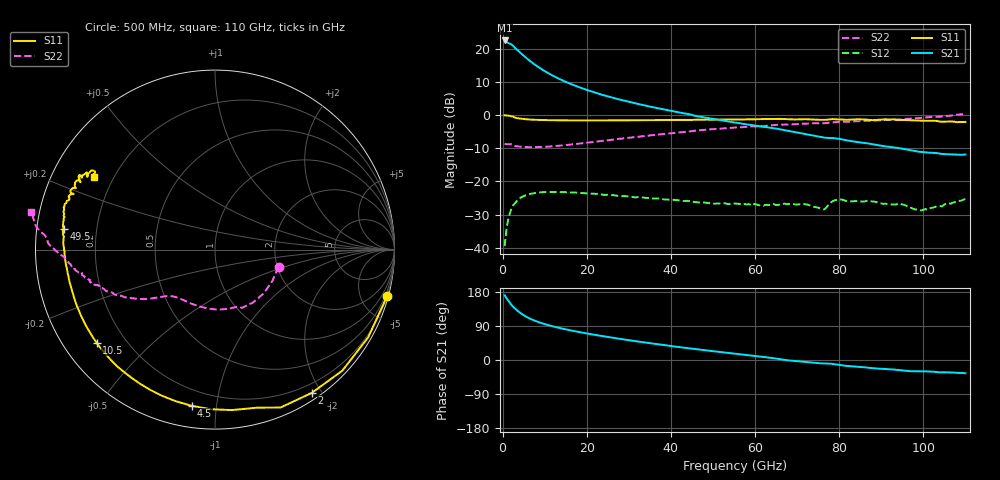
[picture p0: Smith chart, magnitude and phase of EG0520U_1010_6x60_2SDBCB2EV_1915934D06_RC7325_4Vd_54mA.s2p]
!File name = EG0520U_1010_6x60_2SDBCB2EV_1915934D06_RC7325_4Vd_54mA.s2p
!Base file name = EG0520U_1010_6x60_2SDBCB2EV_1915934D06_RC7325
!Date = 8/23/2019
!Time = 1:11 PM
!Test duration(min) = 0.15
!Test = S-Parameters
!MPTS version = 8.91.5
!State File = C:\Data\PNA\20190821205423\S-Parameters_2019-08-23.sta
!Cal File =
!ComputerName = CMPE-LAB-6
!Comments =
!Attenuation = 0
!Z0 = 50
!Input Power(dBm) = -13.00
!Device ID = EG0520U_1010_6x60_2SDBCB2EV
!Row = 73
!Column = 25
!Technology = QPHT09
!Lot/Wafer = 1915934D06
!Gate Size = 360
!Mask = EG0520
!Cal Standards = GaAs BCB
!Cal Kit = EG2306
!Job Number = 20190821205423
!Device Type = FET
!set_Vg(v) = -1.500
!set_Vd(v) = 4.000
!set_Vd(mA) = 54.000
!file_name = EG0520U_1010_6x60_2SDBCB2EV_1915934D06_RC7325_4Vd_54mA.s2p
!Vd(V) = 4.000
!Vd(mA) = 54.133
!Vg(V) = -0.481
!Vg(mA) = -0.003
# GHz  S  DB  R  50
!%	Freq(GHz)  s11(dB)  s11(deg)  s21(dB)  s21(deg)  s12(dB)  s12(deg)  s22(dB)  s22(deg)
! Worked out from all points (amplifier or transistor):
!   220 points, 500 MHz to 110 GHz, reference 50 ohm
!   highest |S21| = 22.5 dB at 500 MHz (marker M1)
!   |S21| within 3 dB of that: start of sweep to 3.62 GHz
!   unconditionally stable (mu >= 1): 31.09 GHz to 103.2 GHz
!   at 18.5 GHz: K = 0.56, MSG = 15.9 dB, |S12| = -23.5 dB
!   at 55.5 GHz: K = 1.61, MAG = 7.6 dB, |S12| = -26.7 dB
!   at 110 GHz: K = -2.06, MSG = 6.7 dB, |S12| = -25.3 dB
!   S11 on the Smith chart (normalised r, x): 500 MHz: 0.19, -7.55; 2 GHz: 0.08, -1.88; 4.5 GHz: 0.11, -0.85; 10.5 GHz: 0.10, -0.34; 49.5 GHz: 0.08, +0.07; 110 GHz: 0.13, +0.27
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0.5  -0.06 -15.1  22.52 170.8  -39.55 81.0  -8.71 -15.2
1  -0.14 -29.8  22.04 162.2  -33.78 73.3  -8.77 -28.8
2  -0.32 -56.0  21.40 147.3  -28.66 59.1  -8.80 -54.7
2.5  -0.42 -67.5  20.93 140.8  -27.29 53.3  -8.94 -65.0
3.5  -0.92 -84.0  19.65 130.6  -25.76 44.5  -9.42 -76.9
4.5  -1.11 -98.6  18.51 122.0  -24.78 37.2  -9.55 -90.0
5.5  -1.25 -110.1  17.40 115.0  -24.19 31.5  -9.65 -99.9
7  -1.39 -123.1  15.86 106.7  -23.68 25.2  -9.68 -110.5
8.5  -1.45 -132.4  14.51 100.3  -23.38 20.6  -9.66 -117.3
10.5  -1.52 -141.9  12.92 93.2  -23.23 15.8  -9.54 -124.1
14  -1.60 -153.1  10.62 83.3  -23.24 10.2  -9.17 -131.0
19  -1.63 -162.9  8.04 72.1  -23.52 5.3  -8.49 -136.4
26.5  -1.60 -171.9  5.12 58.2  -24.19 2.1  -7.36 -141.2
37  -1.50 -179.9  2.04 41.4  -25.18 2.1  -5.87 -147.3
49.5  -1.40 172.3  -1.08 24.0  -26.68 6.2  -4.27 -155.7
55.5  -1.32 168.8  -2.28 16.5  -26.71 8.5  -3.74 -159.3
73.5  -1.33 159.1  -6.10 -7.0  -27.54 4.3  -2.44 -169.1
76.5  -1.44 158.7  -6.80 -9.2  -28.44 14.9  -2.44 -170.3
80  -1.33 156.4  -7.16 -13.2  -25.43 8.5  -2.09 -171.8
92  -1.33 151.2  -9.61 -24.5  -26.85 -9.0  -1.45 -177.5
99.5  -1.67 149.6  -11.11 -29.7  -28.78 -7.5  -0.84 179.4
110  -2.10 148.9  -11.88 -35.0  -25.35 -7.6  0.37 168.5
